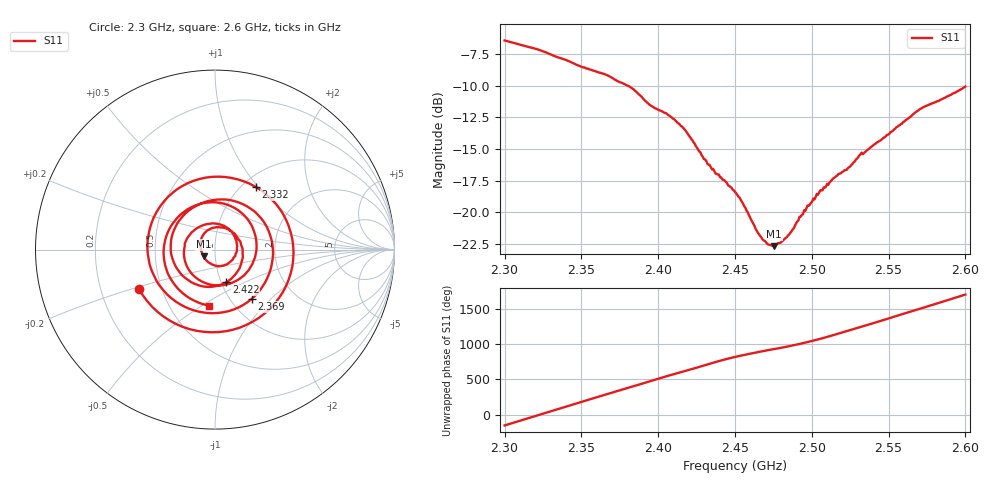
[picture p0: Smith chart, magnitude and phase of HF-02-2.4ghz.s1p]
! NanoVNA-App
! Date: 2026-05-22 18:37:37
! Start: 2.3GHz Stop: 2.6GHz Points: 401
! S-Parameter data: F S11
# Hz S RI R 50
!  Frequency  S11_Real  S11_Imag
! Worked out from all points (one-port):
!   401 points, 2.3 GHz to 2.6 GHz, reference 50 ohm
!   lowest |S11| = -22.7 dB at 2.475 GHz (marker M1), VSWR 1.16, Z = 44 - j3.35 ohm
!   |S11| at or under -10 dB: 2.38 GHz to end of sweep
!   S11 on the Smith chart (normalised r, x): 2.3 GHz: 0.37, -0.21; 2.332 GHz: 1.15, +0.97; 2.369 GHz: 1.25, -0.78; 2.422 GHz: 1.06, -0.40; 2.6 GHz: 0.77, -0.53
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2.3e9  -0.4243 -0.2184
2.30975e9  0.0198 -0.4595
2.3195e9  0.4098 -0.1691
2.3255e9  0.4117 0.1286
2.3315e9  0.2262 0.3493
2.3375e9  -0.0525 0.401
2.345e9  -0.3252 0.2102
2.351e9  -0.3704 -0.0487
2.36075e9  -0.1054 -0.3421
2.369e9  0.2054 -0.2739
2.375e9  0.317 -0.0774
2.384e9  0.2195 0.2133
2.39075e9  0.0104 0.2786
2.402e9  -0.2409 0.072
2.4125e9  -0.1478 -0.1708
2.42225e9  0.0629 -0.1819
2.4335e9  0.1537 0.00405
2.45e9  -0.018 0.119
2.4755e9  -0.0629 -0.0379
2.4875e9  -0.0121 -0.0846
2.5085e9  0.1216 0.0294
2.525e9  -0.0731 0.133
2.53625e9  -0.172 -0.0383
2.5475e9  -0.00857 -0.1977
2.5625e9  0.2309 0.0379
2.5775e9  -0.088 0.2531
2.58875e9  -0.2861 -0.0313
2.6e9  -0.0362 -0.3117
